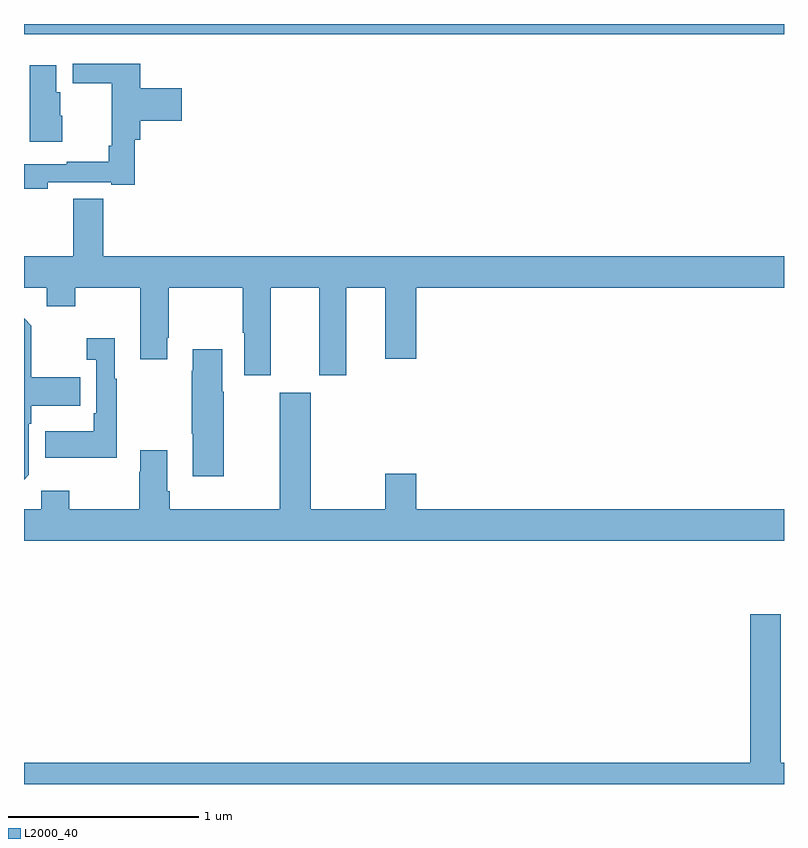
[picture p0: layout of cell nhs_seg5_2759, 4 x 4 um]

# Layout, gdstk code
import gdstk
lib = gdstk.Library(unit=1e-6, precision=1e-09)
def R(c, l, rs):  # rectangles x0, y0, x1, y1
    for r in rs: c.add(gdstk.rectangle(r[:2], r[2:], *l))
def P(c, l, *ps):  # polygons
    for p in ps: c.add(gdstk.Polygon(p, *l))
L2000_40 = (2000, 40)

nhs_seg5_2759 = lib.new_cell('nhs_seg5_2759')
R(nhs_seg5_2759, L2000_40, [(271,872.744,275,872.799)])
P(nhs_seg5_2759, L2000_40, [(271.125,871.965),(271.46,871.965),(271.46,871.953),(271.583,871.953),(271.583,872.189),(271.613,872.189),(271.613,872.291),(271.831,872.291),(271.831,872.461),(271.613,872.461),(271.613,872.59),(271.257,872.59),(271.257,872.488),(271.462,872.488),(271.462,872.158),(271.447,872.158),(271.447,872.074),(271.225,872.074),(271.225,872.061),(271,872.061),(271,871.933),(271.125,871.933)],
  [(271.201,872.316),(271.192,872.316),(271.192,872.439),(271.171,872.439),(271.171,872.581),(271.031,872.581),(271.031,872.18),(271.201,872.18)],
  [(272.299,871.412),(272.555,871.412),(272.555,870.951),(272.695,870.951),(272.695,871.412),(272.9,871.412),(272.9,871.038),(273.064,871.038),(273.064,871.412),(275,871.412),(275,871.576),(271.418,871.576),(271.418,871.88),(271.258,871.88),(271.258,871.576),(271,871.576),(271,871.412),(271.121,871.412),(271.121,871.313),(271.269,871.313),(271.269,871.412),(271.613,871.412),(271.613,871.035),(271.753,871.035),(271.753,871.147),(271.761,871.147),(271.761,871.412),(272.152,871.412),(272.152,871.174),(272.159,871.174),(272.159,870.951),(272.299,870.951)],
  [(271.026,870.426),(271.026,870.695),(271.039,870.695),(271.039,870.791),(271.295,870.791),(271.295,870.939),(271.039,870.939),(271.039,871.211),(271,871.25),(271,870.4)],
  [(271.489,870.931),(271.477,870.931),(271.477,871.144),(271.329,871.144),(271.329,871.031),(271.38,871.031),(271.38,870.751),(271.368,870.751),(271.368,870.655),(271.111,870.655),(271.111,870.515),(271.489,870.515)],
  [(272.052,870.863),(272.044,870.863),(272.044,871.087),(271.889,871.087),(271.889,870.974),(271.882,870.974),(271.882,870.643),(271.889,870.643),(271.889,870.42),(272.052,870.42)],
  [(275,870.244),(273.064,870.244),(273.064,870.433),(272.9,870.433),(272.9,870.244),(272.509,870.244),(272.509,870.859),(272.345,870.859),(272.345,870.244),(271.766,870.244),(271.766,870.34),(271.753,870.34),(271.753,870.556),(271.613,870.556),(271.613,870.443),(271.606,870.443),(271.606,870.244),(271.239,870.244),(271.239,870.343),(271.092,870.343),(271.092,870.244),(271,870.244),(271,870.08),(275,870.08)],
  [(275,868.912),(274.983,868.912),(274.983,869.692),(274.823,869.692),(274.823,868.912),(271,868.912),(271,868.799),(275,868.799)])

lib.write_gds('nhs_seg5_2759.gds')
